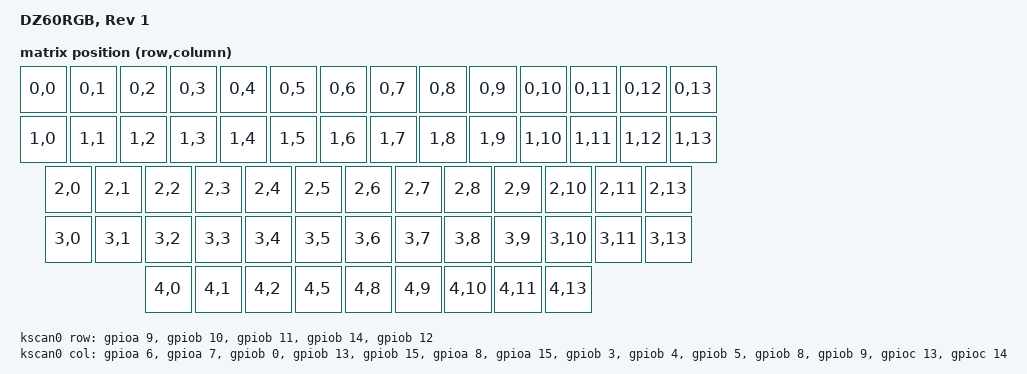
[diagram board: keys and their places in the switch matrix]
/*
 * Copyright (c) 2020 The ZMK Contributors
 *
 * SPDX-License-Identifier: MIT
 */

/dts-v1/;
#include <st/f3/stm32f303Xc.dtsi>

#include <dt-bindings/zmk/matrix_transform.h>

/ {
    model = "DZ60RGB, Rev 1";
    compatible = "dz60rgb,rev1", "st,stm32f303";

    chosen {
        zephyr,sram = &sram0;
        zephyr,flash = &flash0;
        zephyr,console = &cdc_acm_uart;
        zmk,kscan = &kscan0;
        zmk,matrix-transform = &default_transform;
    };

    default_transform: keymap_transform_0 {
        compatible = "zmk,matrix-transform";
        columns = <14>;
        rows = <5>;
        map = <
RC(0,0) RC(0,1) RC(0,2) RC(0,3) RC(0,4) RC(0,5) RC(0,6) RC(0,7) RC(0,8) RC(0,9) RC(0,10) RC(0,11) RC(0,12)     RC(0,13)
RC(1,0)   RC(1,1) RC(1,2) RC(1,3) RC(1,4) RC(1,5) RC(1,6) RC(1,7) RC(1,8) RC(1,9) RC(1,10) RC(1,11) RC(1,12)   RC(1,13)
RC(2,0)     RC(2,1) RC(2,2) RC(2,3) RC(2,4) RC(2,5) RC(2,6) RC(2,7) RC(2,8) RC(2,9) RC(2,10) RC(2,11)          RC(2,13)
RC(3,0)       RC(3,1) RC(3,2) RC(3,3) RC(3,4) RC(3,5) RC(3,6) RC(3,7) RC(3,8) RC(3,9)    RC(3,10)     RC(3,11) RC(3,13)
RC(4,0)   RC(4,1)   RC(4,2)                      RC(4,5)                     RC(4,8) RC(4,9) RC(4,10) RC(4,11) RC(4,13)
        >;
    };

    kscan0: kscan {
        compatible = "zmk,kscan-gpio-matrix";

        diode-direction = "col2row";
        row-gpios
            = <&gpioa 9  (GPIO_ACTIVE_HIGH | GPIO_PULL_DOWN)>
            , <&gpiob 10 (GPIO_ACTIVE_HIGH | GPIO_PULL_DOWN)>
            , <&gpiob 11 (GPIO_ACTIVE_HIGH | GPIO_PULL_DOWN)>
            , <&gpiob 14 (GPIO_ACTIVE_HIGH | GPIO_PULL_DOWN)>
            , <&gpiob 12 (GPIO_ACTIVE_HIGH | GPIO_PULL_DOWN)>
            ;
        col-gpios
            = <&gpioa 6  GPIO_ACTIVE_HIGH>
            , <&gpioa 7  GPIO_ACTIVE_HIGH>
            , <&gpiob 0  GPIO_ACTIVE_HIGH>
            , <&gpiob 13 GPIO_ACTIVE_HIGH>
            , <&gpiob 15 GPIO_ACTIVE_HIGH>
            , <&gpioa 8  GPIO_ACTIVE_HIGH>
            , <&gpioa 15 GPIO_ACTIVE_HIGH>
            , <&gpiob 3  GPIO_ACTIVE_HIGH>
            , <&gpiob 4  GPIO_ACTIVE_HIGH>
            , <&gpiob 5  GPIO_ACTIVE_HIGH>
            , <&gpiob 8  GPIO_ACTIVE_HIGH>
            , <&gpiob 9  GPIO_ACTIVE_HIGH>
            , <&gpioc 13 GPIO_ACTIVE_HIGH>
            , <&gpioc 14 GPIO_ACTIVE_HIGH>
            ;
    };

};

&usb {
    status = "okay";
    cdc_acm_uart: cdc_acm_uart {
        compatible = "zephyr,cdc-acm-uart";
    };
};

&flash0 {
    /*
     * For more information, see:
     * http://docs.zephyrproject.org/latest/guides/dts/index.html#flash-partitions
     */
    partitions {
        compatible = "fixed-partitions";
        #address-cells = <1>;
        #size-cells = <1>;

        /* Set 6Kb of storage at the end of the 256Kb of flash */
        storage_partition: partition@3e800 {
            reg = <0x0003e800 0x00001800>;
        };
    };
};
